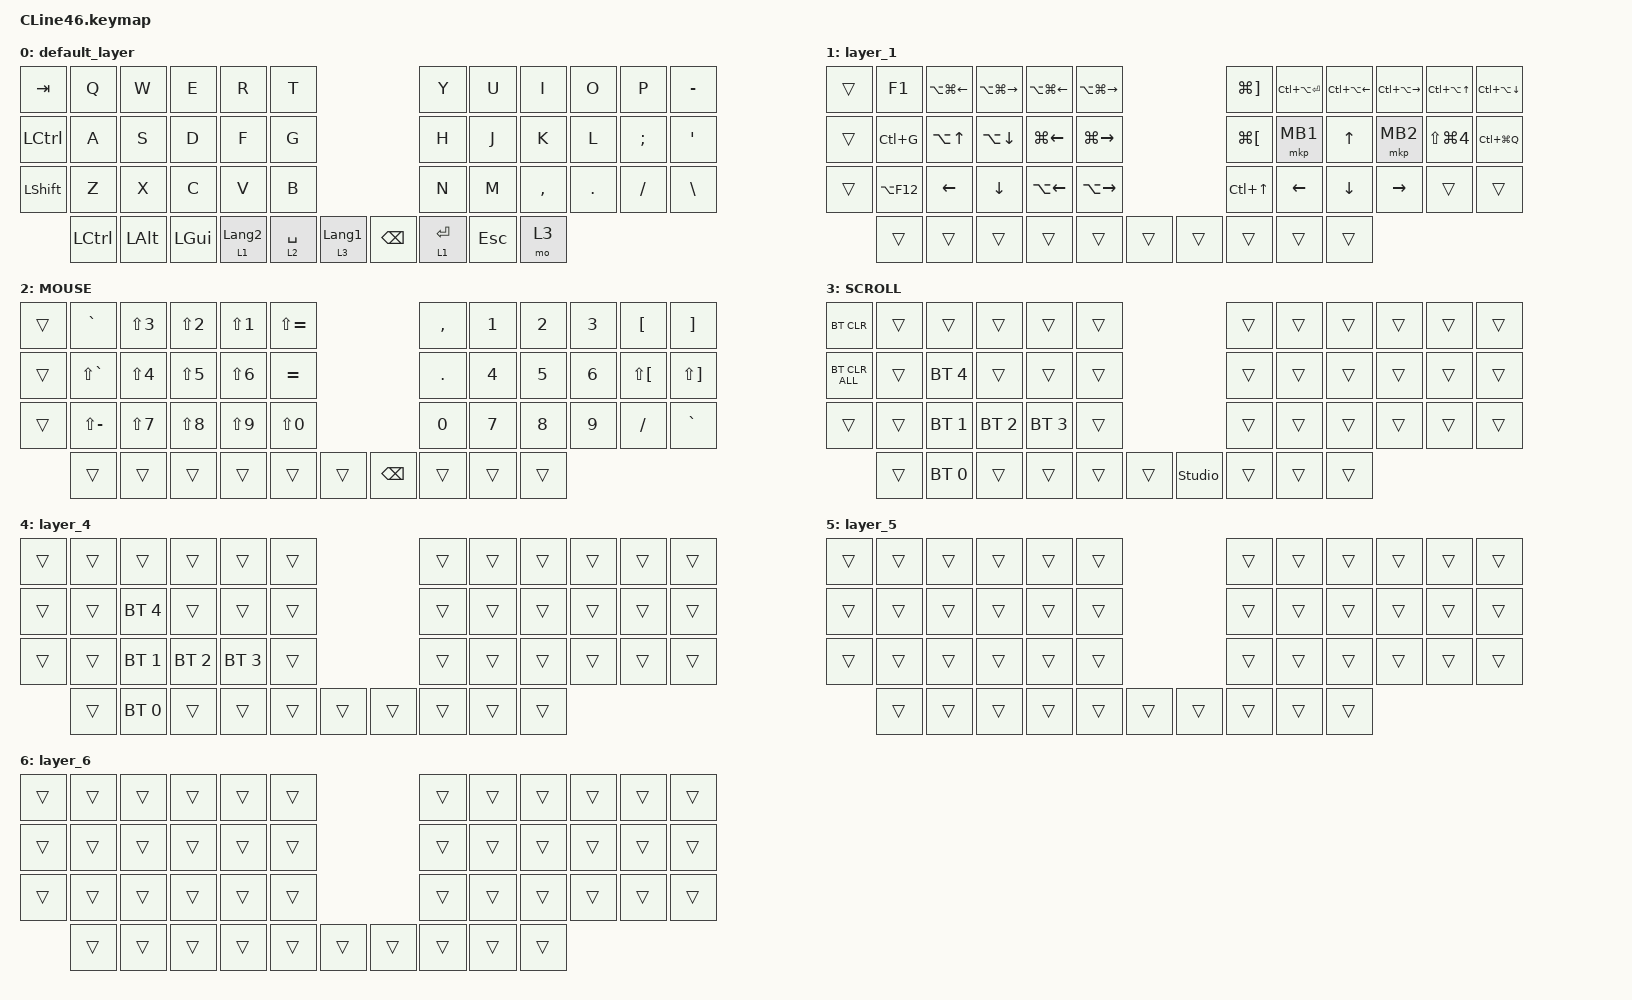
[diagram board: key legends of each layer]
#include <input/processors.dtsi>
#include <dt-bindings/zmk/input_transform.h>
#include <zephyr/dt-bindings/input/input-event-codes.h>
#include <behaviors.dtsi>
#include <dt-bindings/zmk/bt.h>
#include <dt-bindings/zmk/keys.h>
#include <dt-bindings/zmk/pointing.h>

&mt {
    flavor = "balanced";
    quick-tap-ms = <0>;
};

/ {
    combos {
        compatible = "zmk,combos";

        tab {
            bindings = <&kp TAB>;
            key-positions = <11 12>;
        };

        shift_tab {
            bindings = <&kp LS(TAB)>;
            key-positions = <12 13>;
        };
    };

    macros {
        to_layer_0: to_layer_0 {
            compatible = "zmk,behavior-macro-one-param";
            #binding-cells = <1>;
            bindings = <&to 0 &macro_param_1to1 &kp MACRO_PLACEHOLDER>;
            label = "TO_LAYER_0";
        };
    };

    behaviors {
        lt_to_layer_0: lt_to_layer_0 {
            compatible = "zmk,behavior-hold-tap";
            label = "LAYER_TAP_TO_0";
            bindings = <&mo>, <&to_layer_0>;

            #binding-cells = <2>;
            tapping-term-ms = <200>;
        };
    };

    keymap {
        compatible = "zmk,keymap";

        // ================================================================
        // Layer 0: Base
        //
        // 左手:
        //   Row0: Tab   Q    W    E    R    T
        //   Row1: *Ctrl A    S    D    F    G
        //   Row2: *Shft Z    X    C    V    B
        //
        // 右手:
        //   Row0: Y     U    I    O    P    - _
        //   Row1: H     J    K    L    : ;  " '
        //   Row2: N     M    < ,  > .  ? /  | \
        //
        // Thumb:
        //   左: Ctrl  *Alt  *Win  英数→L1   Space→L2  かな→L3
        //   右: BS   Enter→L1  Esc  L3(mo)
        // ================================================================
        default_layer {
            bindings = <
&kp TAB    &kp Q    &kp W    &kp E    &kp R              &kp T                                                    &kp Y    &kp U    &kp I      &kp O    &kp P      &kp MINUS
&kp LCTRL  &kp A    &kp S    &kp D    &kp F              &kp G                                                    &kp H    &kp J    &kp K      &kp L    &kp SEMI   &kp SQT
&kp LSHFT  &kp Z    &kp X    &kp C    &kp V              &kp B                                                    &kp N    &kp M    &kp COMMA  &kp DOT  &kp SLASH  &kp BSLH
           &kp LCTRL   &kp LALT &kp LGUI &lt 1 LANGUAGE_2  &lt 2 SPACE  &lt 3 LANGUAGE_1    &kp BSPC  &lt 1 RET &kp ESC &mo 3
            >;
        };

        // ================================================================
        // Layer 1: Nav / Window操作
        // Lang2(無変換)ホールド / Enterホールドで起動
        //
        // 左手:
        //   Row0: ▽     F1       A+W+←    A+W+→    A+W+←    A+W+→
        //   Row1: ▽     Ctrl+G   Alt+↑    Alt+↓    Win+←    Win+→
        //   Row2: ▽     Alt+F12  ←        ↓        Alt+←    Alt+→
        //
        // 右手:
        //   Row0: Win+]  C+A+Enter  C+A+←   C+A+→   C+A+↑    C+A+↓
        //   Row1: Win+[  MB1        ↑        MB2      S+Win+4  C+Win+Q
        //   Row2: Ctrl+↑ ←          ↓        →        ▽        ▽
        //
        // Thumb: 全て▽
        //
        // 凡例:
        //   LA(LG(X)) = Alt+Win+X
        //   LG(X)     = Win+X
        //   LC(LA(X)) = Ctrl+Alt+X
        //   LA(X)     = Alt+X
        //   LS(LG(X)) = Shift+Win+X
        //   LC(LG(X)) = Ctrl+Win+X
        // ================================================================
        layer_1 {
            bindings = <
&trans  &kp F1       &kp LA(LG(LEFT))  &kp LA(LG(RIGHT))  &kp LA(LG(LEFT))  &kp LA(LG(RIGHT))                      &kp LG(RBKT)   &kp LC(LA(RET))  &kp LC(LA(LEFT))  &kp LC(LA(RIGHT))  &kp LC(LA(UP))   &kp LC(LA(DOWN))
&trans  &kp LC(G)    &kp LA(UP)      &kp LA(DOWN)       &kp LG(LEFT)      &kp LG(RIGHT)                          &kp LG(LBKT)   &mkp MB1         &kp UP            &mkp MB2           &kp LS(LG(N4))   &kp LC(LG(Q))
&trans  &kp LA(F12)  &kp LEFT        &kp DOWN           &kp LA(LEFT)      &kp LA(RIGHT)                          &kp LC(UP)     &kp LEFT         &kp DOWN          &kp RIGHT          &trans           &trans
        &trans       &trans          &trans             &trans             &trans          &trans    &trans  &trans  &trans  &trans
            >;
        };

        // ================================================================
        // Layer 2: Symbol / Number
        // Space ホールドで起動
        //
        // 左手 (記号メイン):
        //   Row0: ▽   `    #    @    !    +
        //   Row1: ▽   ~    $    %    ^    =
        //   Row2: ▽   _    &    *    (    )
        //
        // 右手 (数字・対応記号):
        //   Row0: ,   1    2    3    [    ]
        //   Row1: .   4    5    6    {    }
        //   Row2: 0    7    8    9    /    `
        //
        // Thumb:
        //   左: [余] ▽ ▽ ▽ ▽ ▽
        //   右: BS  ▽  ▽  ▽  [余]
        // ================================================================
        MOUSE {
            bindings = <
&trans  &kp GRAVE      &kp LS(N3)    &kp LS(N2)    &kp LS(N1)    &kp LS(EQUAL)                             &kp COMMA      &kp N1  &kp N2  &kp N3  &kp LBKT      &kp RBKT
&trans  &kp LS(GRAVE)  &kp LS(N4)    &kp LS(N5)    &kp LS(N6)    &kp EQUAL                                 &kp DOT        &kp N4  &kp N5  &kp N6  &kp LS(LBKT)  &kp LS(RBKT)
&trans  &kp LS(MINUS)  &kp LS(N7)    &kp LS(N8)    &kp LS(N9)    &kp LS(N0)                                &kp N0         &kp N7  &kp N8  &kp N9  &kp SLASH     &kp GRAVE
        &trans         &trans        &trans         &trans         &trans         &trans    &kp BSPC  &trans  &trans  &trans
            >;
        };

        // ================================================================
        // Layer 3: BT / System
        // Lang1(変換)ホールド / Escホールドで起動
        //
        // Keyball44 Layer3はRGB操作でしたが、CLine46はRGB非搭載のため
        // BTプロファイル切り替えに置き換え
        // studio_unlock をThumb右に配置
        // ================================================================
        SCROLL {
            bindings = <
&bt BT_CLR      &trans  &trans        &trans        &trans        &trans                                &trans  &trans  &trans  &trans  &trans  &trans
&bt BT_CLR_ALL  &trans  &bt BT_SEL 4  &trans        &trans        &trans                                &trans  &trans  &trans  &trans  &trans  &trans
&trans          &trans  &bt BT_SEL 1  &bt BT_SEL 2  &bt BT_SEL 3  &trans                                &trans  &trans  &trans  &trans  &trans  &trans
                &trans  &bt BT_SEL 0  &trans        &trans        &trans  &trans    &studio_unlock  &trans  &trans  &trans
            >;
        };

        layer_4 {
            bindings = <
&trans  &trans  &trans        &trans        &trans        &trans                        &trans  &trans  &trans  &trans  &trans  &trans
&trans  &trans  &bt BT_SEL 4  &trans        &trans        &trans                        &trans  &trans  &trans  &trans  &trans  &trans
&trans  &trans  &bt BT_SEL 1  &bt BT_SEL 2  &bt BT_SEL 3  &trans                        &trans  &trans  &trans  &trans  &trans  &trans
        &trans  &bt BT_SEL 0  &trans        &trans        &trans  &trans      &trans  &trans  &trans  &trans
            >;
        };

        layer_5 {
            bindings = <
&trans  &trans  &trans  &trans  &trans  &trans                        &trans  &trans  &trans  &trans  &trans  &trans
&trans  &trans  &trans  &trans  &trans  &trans                        &trans  &trans  &trans  &trans  &trans  &trans
&trans  &trans  &trans  &trans  &trans  &trans                        &trans  &trans  &trans  &trans  &trans  &trans
        &trans  &trans  &trans  &trans  &trans  &trans      &trans  &trans  &trans  &trans
            >;
        };

        layer_6 {
            bindings = <
&trans  &trans  &trans  &trans  &trans  &trans                        &trans  &trans  &trans  &trans  &trans  &trans
&trans  &trans  &trans  &trans  &trans  &trans                        &trans  &trans  &trans  &trans  &trans  &trans
&trans  &trans  &trans  &trans  &trans  &trans                        &trans  &trans  &trans  &trans  &trans  &trans
        &trans  &trans  &trans  &trans  &trans  &trans      &trans  &trans  &trans  &trans
            >;
        };
    };
};
